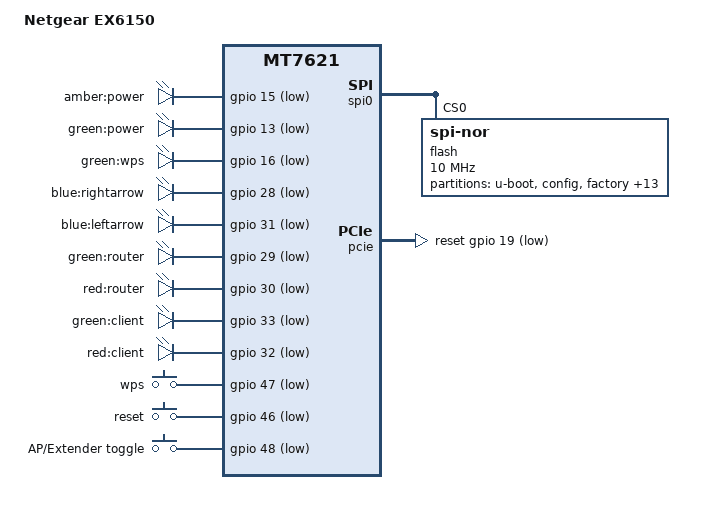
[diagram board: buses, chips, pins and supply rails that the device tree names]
// SPDX-License-Identifier: GPL-2.0-or-later OR MIT

#include "mt7621.dtsi"

#include <dt-bindings/gpio/gpio.h>
#include <dt-bindings/input/input.h>

/ {
	compatible = "netgear,ex6150", "mediatek,mt7621-soc";
	model = "Netgear EX6150";

	aliases {
		led-boot = &power_green;
		led-failsafe = &power_amber;
		led-running = &power_green;
		led-upgrade = &power_amber;
	};

	leds {
		compatible = "gpio-leds";

		power_amber: power_amber {
			label = "amber:power";
			gpios = <&gpio 15 GPIO_ACTIVE_LOW>;
		};

		power_green: power_green {
			label = "green:power";
			gpios = <&gpio 13 GPIO_ACTIVE_LOW>;
		};

		wps {
			label = "green:wps";
			gpios = <&gpio 16 GPIO_ACTIVE_LOW>;
		};

		rightarrow {
			label = "blue:rightarrow";
			gpios = <&gpio 28 GPIO_ACTIVE_LOW>;
		};

		leftarrow {
			label = "blue:leftarrow";
			gpios = <&gpio 31 GPIO_ACTIVE_LOW>;
		};

		router_green {
			label = "green:router";
			gpios = <&gpio 29 GPIO_ACTIVE_LOW>;
			linux,default-trigger = "phy1tpt";
		};

		router_red {
			label = "red:router";
			gpios = <&gpio 30 GPIO_ACTIVE_LOW>;
		};

		client_green {
			label = "green:client";
			gpios = <&gpio 33 GPIO_ACTIVE_LOW>;
			linux,default-trigger = "phy0tpt";
		};

		client_red {
			label = "red:client";
			gpios = <&gpio 32 GPIO_ACTIVE_LOW>;
		};
	};

	keys {
		compatible = "gpio-keys";

		wps {
			label = "wps";
			gpios = <&gpio 47 GPIO_ACTIVE_LOW>;
			linux,code = <KEY_WPS_BUTTON>;
		};

		reset {
			label = "reset";
			gpios = <&gpio 46 GPIO_ACTIVE_LOW>;
			linux,code = <KEY_RESTART>;
		};

		toggle {
			label = "AP/Extender toggle";
			gpios = <&gpio 48 GPIO_ACTIVE_LOW>;
			linux,code = <BTN_0>;
			linux,input-type = <EV_SW>;
			/* Active when switch is set to "Access Point" */
		};
	};
};

&spi0 {
	status = "okay";

	flash@0 {
		compatible = "jedec,spi-nor";
		reg = <0>;
		spi-max-frequency = <10000000>;

		partitions {
			compatible = "fixed-partitions";
			#address-cells = <1>;
			#size-cells = <1>;

			partition@0 {
				label = "u-boot";
				reg = <0x0 0x30000>;
				read-only;
			};

			partition@30000 {
				label = "config";
				reg = <0x30000 0x10000>;
				read-only;
			};

			factory: partition@40000 {
				label = "factory";
				reg = <0x40000 0x10000>;
				read-only;
			};

			partition@50000 {
				compatible = "denx,uimage";
				label = "firmware";
				reg = <0x50000 0xe80000>;
			};

			partition@ed0000 {
				label = "ML1";
				reg = <0xed0000 0x10000>;
				read-only;
			};

			partition@ef0000 {
				label = "ML2";
				reg = <0xef0000 0x20000>;
				read-only;
			};

			partition@f10000 {
				label = "ML3";
				reg = <0xf10000 0x20000>;
				read-only;
			};

			partition@f30000 {
				label = "ML4";
				reg = <0xf30000 0x20000>;
				read-only;
			};

			partition@f50000 {
				label = "ML5";
				reg = <0xf50000 0x20000>;
				read-only;
			};

			partition@f70000 {
				label = "ML6";
				reg = <0xf70000 0x20000>;
				read-only;
			};

			partition@f90000 {
				label = "ML7";
				reg = <0xf90000 0x20000>;
				read-only;
			};

			partition@fb0000 {
				label = "T_Meter1";
				reg = <0xfb0000 0x10000>;
				read-only;
			};

			partition@fc0000 {
				label = "T_Meter2";
				reg = <0xfc0000 0x10000>;
				read-only;
			};

			partition@fd0000 {
				label = "POT";
				reg = <0xfd0000 0x10000>;
				read-only;
			};

			partition@fe0000 {
				label = "board_data";
				reg = <0xfe0000 0x10000>;
				read-only;
			};

			partition@ff0000 {
				label = "nvram";
				reg = <0xff0000 0x10000>;
				read-only;
			};
		};
	};
};

&pcie {
	status = "okay";

	reset-gpios = <&gpio 19 GPIO_ACTIVE_LOW>,
		      <&gpio 8 GPIO_ACTIVE_LOW>;
};

&pcie0 {
	wifi@0,0 {
		reg = <0x0000 0 0 0 0>;
		mediatek,mtd-eeprom = <&factory 0x8000>;
		ieee80211-freq-limit = <5000000 6000000>;
	};
};

&pcie1 {
	wifi@0,0 {
		reg = <0x0000 0 0 0 0>;
		mediatek,mtd-eeprom = <&factory 0x0000>;
		ieee80211-freq-limit = <2400000 2500000>;
	};
};

&ethernet {
	pinctrl-0 = <&mdio_pins>, <&rgmii1_pins>;
};

&gmac0 {
	nvmem-cells = <&macaddr_factory_4>;
	nvmem-cell-names = "mac-address";
};

&switch0 {
	ports {
		port@0 {
			status = "okay";
			label = "lan";
		};
	};
};

&state_default {
	gpio {
		groups = "sdhci", "rgmii2", "jtag";
		function = "gpio";
	};
};

&factory {
	compatible = "nvmem-cells";
	#address-cells = <1>;
	#size-cells = <1>;

	macaddr_factory_4: macaddr@4 {
		reg = <0x4 0x6>;
	};
};
